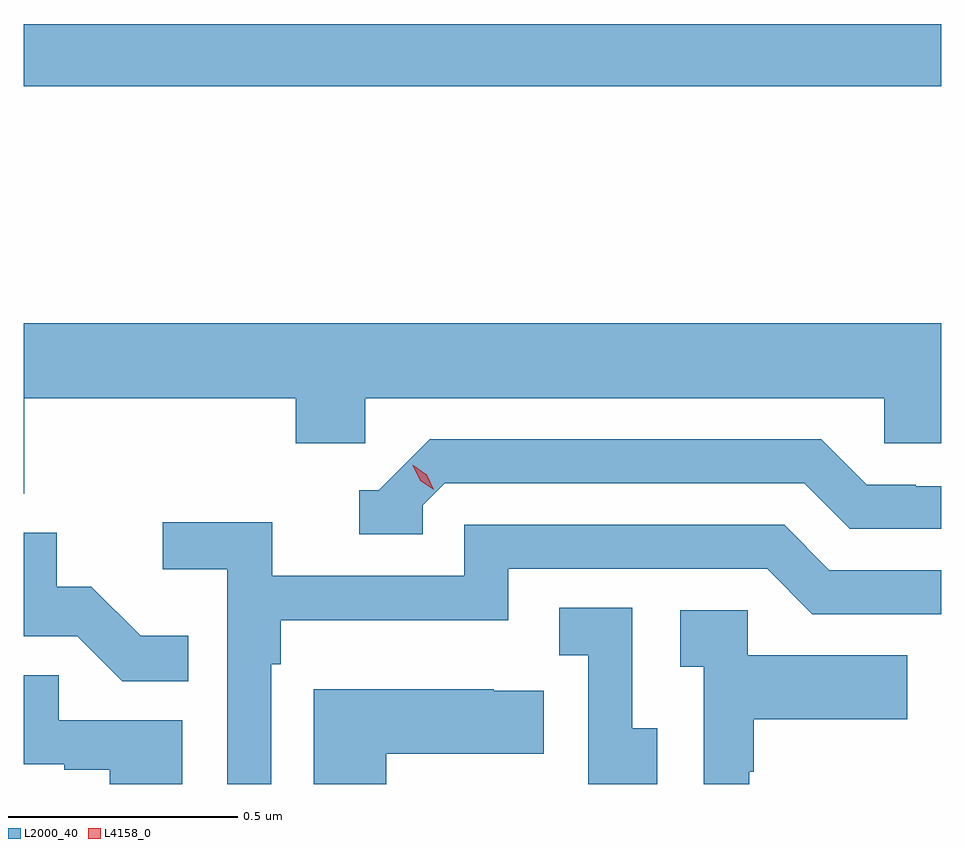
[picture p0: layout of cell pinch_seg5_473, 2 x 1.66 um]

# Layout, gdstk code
import gdstk
lib = gdstk.Library(unit=1e-6, precision=1e-09)
def R(c, l, rs):  # rectangles x0, y0, x1, y1
    for r in rs: c.add(gdstk.rectangle(r[:2], r[2:], *l))
def P(c, l, *ps):  # polygons
    for p in ps: c.add(gdstk.Polygon(p, *l))
L2000_40 = (2000, 40)
L4158_0 = (4158, 0)

pinch_seg5_473 = lib.new_cell('pinch_seg5_473')
R(pinch_seg5_473, L2000_40, [(902.196,858.772,904.196,858.908)])
P(pinch_seg5_473, L2000_40, [(902.198,858.092),(902.789,858.092),(902.789,857.994),(902.94,857.994),(902.94,858.092),(904.071,858.092),(904.071,857.994),(904.196,857.994),(904.196,858.256),(902.196,858.256),(902.196,857.884),(902.198,857.884)],
  [(903.066,857.859),(903.114,857.907),(903.897,857.907),(903.996,857.808),(904.196,857.808),(904.196,857.901),(904.14,857.901),(904.14,857.904),(904.033,857.904),(903.934,858.003),(903.081,858.003),(902.97,857.892),(902.927,857.892),(902.927,857.796),(903.066,857.796)],
  [(902.736,857.513),(902.756,857.513),(902.756,857.609),(903.252,857.609),(903.252,857.721),(903.816,857.721),(903.915,857.622),(904.196,857.622),(904.196,857.718),(903.952,857.718),(903.853,857.817),(903.156,857.817),(903.156,857.706),(902.738,857.706),(902.738,857.822),(902.499,857.822),(902.499,857.72),(902.64,857.72),(902.64,857.252),(902.736,857.252)],
  [(902.555,857.575),(902.451,857.575),(902.344,857.682),(902.268,857.682),(902.268,857.799),(902.196,857.799),(902.196,857.574),(902.313,857.574),(902.411,857.476),(902.555,857.476)],
  [(903.577,857.373),(903.522,857.373),(903.522,857.636),(903.363,857.636),(903.363,857.533),(903.426,857.533),(903.426,857.252),(903.577,857.252)],
  [(903.777,857.279),(903.787,857.279),(903.787,857.393),(904.121,857.393),(904.121,857.533),(903.774,857.533),(903.774,857.631),(903.627,857.631),(903.627,857.507),(903.678,857.507),(903.678,857.252),(903.777,857.252)],
  [(902.542,857.391),(902.273,857.391),(902.273,857.489),(902.196,857.489),(902.196,857.295),(902.285,857.295),(902.285,857.283),(902.384,857.283),(902.384,857.252),(902.542,857.252)],
  [(902.986,857.318),(903.329,857.318),(903.329,857.455),(903.221,857.455),(903.221,857.458),(902.828,857.458),(902.828,857.252),(902.986,857.252)])
P(pinch_seg5_473, L4158_0, [(903.09,857.893),(903.06,857.913),(903.044,857.946),(903.044,857.947),(903.045,857.947),(903.075,857.926),(903.09,857.893),(903.09,857.893)])

lib.write_gds('pinch_seg5_473.gds')
